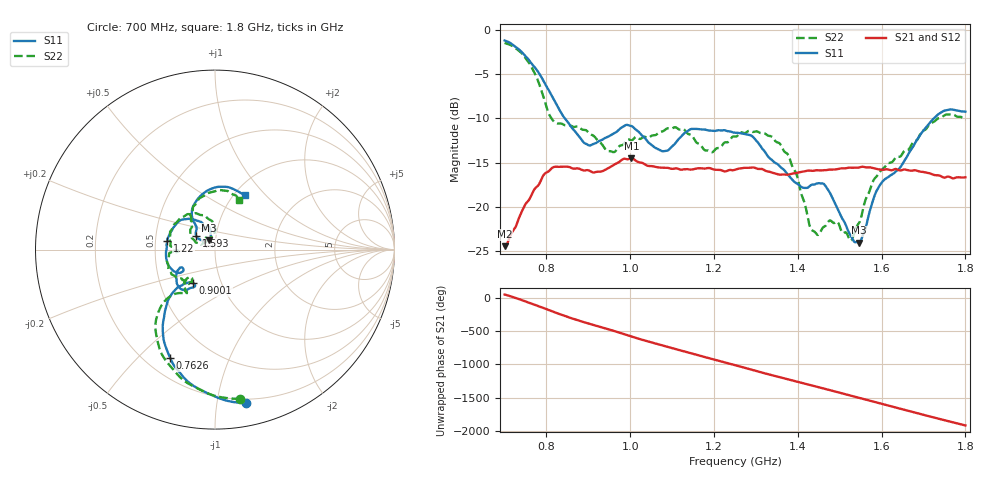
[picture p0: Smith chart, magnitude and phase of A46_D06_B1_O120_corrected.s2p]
! Created with skrf 1.9.0 (http://scikit-rf.org).
# Hz S RI R 50.0
!freq ReS11 ImS11 ReS21 ImS21 ReS12 ImS12 ReS22 ImS22
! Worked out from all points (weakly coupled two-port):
!   1601 points, 700 MHz to 1.8 GHz, reference 50 ohm
!   highest |S21| = -14.51 dB at 1.002 GHz (marker M1); lowest = -24.4 dB at 700.7 MHz (marker M2)
!   lowest |S11| = -24.0 dB at 1.546 GHz (marker M3), VSWR 1.13, Z = 46.3 + j4.83 ohm
!   |S11| at or under -10 dB: 843.9 MHz to 1.724 GHz (880.5 MHz wide, 68.6 % of centre)
!   |S22| runs from -23.8 to -1.5 dB; largest |S21 - S12| = 0.0035
!   S11 on the Smith chart (normalised r, x): 700 MHz: 0.17, -1.21; 762.6 MHz: 0.30, -0.63; 900.1 MHz: 0.74, -0.29; 1.22 GHz: 0.58, +0.06; 1.593 GHz: 0.80, +0.12; 1.8 GHz: 1.12, +0.77
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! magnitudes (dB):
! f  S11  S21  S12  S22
! 700 MHz  -1.2  -24.4  -24.2  -1.5
! 700.7 MHz  -1.2  -24.4  -24.1  -1.5
! 762.6 MHz  -3.7  -18.8  -18.8  -4.1
! 814.8 MHz  -7.6  -15.5  -15.6  -10.2
! 883.6 MHz  -12.4  -15.8  -15.7  -11.2
! 900.1 MHz  -13.0  -15.8  -15.9  -11.6
! 956.4 MHz  -11.8  -15.4  -15.4  -13.8
! 1.002 GHz  -10.8  -14.5  -14.6  -12.5
! 1.067 GHz  -13.5  -15.5  -15.5  -11.6
! 1.145 GHz  -11.2  -15.8  -15.8  -11.8
! 1.22 GHz  -11.3  -15.9  -15.9  -13.0
! 1.25 GHz  -11.6  -15.8  -15.7  -12.0
! 1.357 GHz  -15.4  -16.3  -16.3  -12.9
! 1.396 GHz  -17.3  -16.2  -16.1  -16.2
! 1.434 GHz  -17.5  -15.9  -15.9  -22.6
! 1.467 GHz  -17.6  -15.8  -15.8  -22.1
! 1.526 GHz  -23.2  -15.6  -15.5  -23.8
! 1.546 GHz  -24.0  -15.5  -15.5  -21.8
! 1.593 GHz  -17.7  -15.7  -15.7  -16.2
! 1.617 GHz  -16.6  -15.8  -15.7  -15.0
! 1.733 GHz  -9.6  -16.4  -16.4  -10.1
! 1.8 GHz  -9.2  -16.6  -16.6  -10.2
